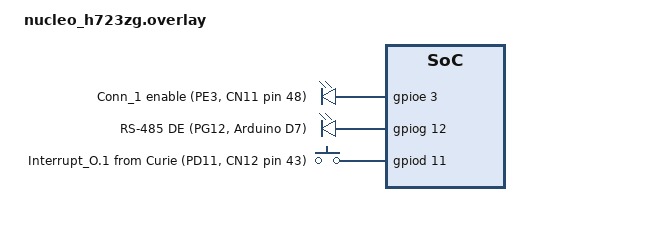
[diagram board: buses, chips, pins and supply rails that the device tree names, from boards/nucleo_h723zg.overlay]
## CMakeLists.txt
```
cmake_minimum_required(VERSION 3.20.0)
find_package(Zephyr REQUIRED HINTS $ENV{ZEPHYR_BASE})
project(rs485_switch_hello)
target_sources(app PRIVATE src/main.c)
```

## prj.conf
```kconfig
# GPIO for interrupt input (PE2) and Conn_1 output (PE3) and RS-485 DE (PG12).
# SERIAL for LPUART1 (RS-485 data) and USART3 (console, board default).
# No interrupt-driven UART needed - uart_poll_out() is sufficient for a
# one-shot "send and done" message at 115200.
CONFIG_GPIO=y
CONFIG_SERIAL=y
CONFIG_CONSOLE=y
CONFIG_UART_CONSOLE=y
CONFIG_PRINTK=y
CONFIG_STDOUT_CONSOLE=y
```

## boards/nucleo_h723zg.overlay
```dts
/*
 * SPDX-License-Identifier: Apache-2.0
 *
 * NUCLEO-H723ZG overlay for rs485_switch_hello.
 *
 * Pin assignments:
 *   PD11 Morpho CN12 pin 43  INPUT  + rising-edge IRQ    Interrupt_O.1 from Curie PJ12
 *   PE3  Morpho CN11 pin 48  OUTPUT                       Conn_1 enable → Curie PJ15
 *   PG12 Arduino D7          OUTPUT                       RS-485 DE (shield)
 *
 * RS-485 data:
 *   LPUART1 PB6=TX / PB7=RX  (Arduino D1/D0, already on board DTS).
 *
 * Console stays on USART3 (board default ST-Link VCP PD8/PD9).
 *
 * Wiring list:
 *   Curie J15 pin 17  (SensorBus.O1 / PJ12)  ──▶  NUCLEO PD11 (CN12 pin 43)
 *   NUCLEO PE3        (CN11 pin 48)          ──▶  Curie J15 pin 19 (SensorBus.C1 / PJ15)
 *   GND common
 *   RS-485 A/B from shield J1 ──▶ Waveshare port ttyACM0 (sniffer)
 */

/ {
	switch_ctrl {
		compatible = "gpio-leds";

		/* PE3 (CN11 pin 48): drives Conn_1 on the rs485_switch board HIGH to enable
		 * channel 1 (via Curie J15 pin 19 / SensorBus.C1 / PJ15). */
		conn1_out: conn1_out {
			gpios = <&gpioe 3 GPIO_ACTIVE_HIGH>;
			label = "Conn_1 enable (PE3, CN11 pin 48)";
		};

		/* PG12: RS-485 Driver Enable for the shield's transceiver. */
		rs485_de: rs485_de {
			gpios = <&gpiog 12 GPIO_ACTIVE_HIGH>;
			label = "RS-485 DE (PG12, Arduino D7)";
		};
	};

	trigger_input {
		compatible = "gpio-keys";

		/* PD11 (CN12 pin 43): receives Interrupt_O.1 pulse from Curie PJ12.
		 * Rising edge triggers the work item that sends the message. */
		interrupt_o1_in: interrupt_o1_in {
			gpios = <&gpiod 11 GPIO_ACTIVE_HIGH>;
			label = "Interrupt_O.1 from Curie (PD11, CN12 pin 43)";
			zephyr,code = <0>;
		};
	};

	aliases {
		conn1-out = &conn1_out;
		rs485-de  = &rs485_de;
		irq-in    = &interrupt_o1_in;
	};
};
```

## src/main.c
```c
/*
 * SPDX-License-Identifier: Apache-2.0
 *
 * rs485_switch_hello — NUCLEO-H723ZG side.
 */

#include <zephyr/kernel.h>
#include <zephyr/device.h>
#include <zephyr/devicetree.h>
#include <zephyr/drivers/gpio.h>
#include <zephyr/drivers/uart.h>
#include <zephyr/sys/printk.h>
#include <string.h>

#define LPUART1_NODE   DT_NODELABEL(lpuart1)
#define CONN1_OUT_NODE DT_ALIAS(conn1_out)
#define RS485_DE_NODE  DT_ALIAS(rs485_de)
#define IRQ_IN_NODE    DT_ALIAS(irq_in)

static const struct device *const uart_dev = DEVICE_DT_GET(LPUART1_NODE);

static const struct gpio_dt_spec conn1_out =
	GPIO_DT_SPEC_GET(CONN1_OUT_NODE, gpios);
static const struct gpio_dt_spec rs485_de =
	GPIO_DT_SPEC_GET(RS485_DE_NODE, gpios);
static const struct gpio_dt_spec irq_in =
	GPIO_DT_SPEC_GET(IRQ_IN_NODE, gpios);

static const char rs485_msg[] = "Hello testing spring from nucleo\r\n";

#define DE_SETTLE_US   10
#define DE_TAIL_US    200
#define CONN1_HOLD_MS 200
#define SWITCH_SETTLE_MS 1

static struct k_work trigger_work;
static volatile uint32_t irq_count = 0;

static void rs485_send(const char *msg, size_t len)
{
	gpio_pin_set_dt(&rs485_de, 1);
	k_busy_wait(DE_SETTLE_US);

	for (size_t i = 0; i < len; i++) {
		uart_poll_out(uart_dev, msg[i]);
	}

	k_busy_wait(DE_TAIL_US);
	gpio_pin_set_dt(&rs485_de, 0);
}

static void do_trigger(struct k_work *work)
{
	ARG_UNUSED(work);

	uint32_t count = irq_count;
	int val = gpio_pin_get_dt(&irq_in);
	printk("\n▶ [IRQ #%u] Trigger event on PD11 (current pin level = %d)\n", count, val);

	/* 1. Drive Conn_1 (PE3) HIGH */
	gpio_pin_set_dt(&conn1_out, 1);
	printk("  Conn_1 (PE3) → HIGH [RS-485 channel 1 enabled]\n");

	k_msleep(SWITCH_SETTLE_MS);

	/* 2. Send RS-485 message */
	printk("  Sending RS-485: \"%s\"", rs485_msg);
	rs485_send(rs485_msg, sizeof(rs485_msg) - 1);
	printk("  RS-485 transmission complete.\n");

	/* 3. Hold Conn_1 HIGH then release */
	k_msleep(CONN1_HOLD_MS);
	gpio_pin_set_dt(&conn1_out, 0);
	printk("  Conn_1 (PE3) → LOW [cycle complete]\n\n");
}

static struct gpio_callback irq_cb_data;

static void trigger_irq_handler(const struct device *dev,
				 struct gpio_callback *cb,
				 uint32_t pins)
{
	ARG_UNUSED(dev);
	ARG_UNUSED(cb);
	ARG_UNUSED(pins);

	irq_count++;
	k_work_submit(&trigger_work);
}

int main(void)
{
	int rc;

	printk("\n==================================================\n");
	printk("=== rs485_switch_hello (NUCLEO-H723ZG) ===\n");
	printk("==================================================\n");
	printk("Waiting for interrupt edge on PD11 (from Curie PJ12).\n");
	printk("On trigger: PE3 HIGH (Conn_1) → RS-485 msg → PE3 LOW.\n");
	printk("Sniffer: waveshare_rs485 on /dev/ttyACM0 at 115200.\n\n");

	if (!device_is_ready(uart_dev)) {
		printk("ERROR: LPUART1 not ready\n");
		return 0;
	}

	if (!gpio_is_ready_dt(&conn1_out)) {
		printk("ERROR: conn1_out (PE3) not ready\n");
		return 0;
	}
	rc = gpio_pin_configure_dt(&conn1_out, GPIO_OUTPUT_INACTIVE);
	if (rc < 0) {
		printk("ERROR: conn1_out configure: %d\n", rc);
		return 0;
	}

	if (!gpio_is_ready_dt(&rs485_de)) {
		printk("ERROR: rs485_de (PG12) not ready\n");
		return 0;
	}
	rc = gpio_pin_configure_dt(&rs485_de, GPIO_OUTPUT_INACTIVE);
	if (rc < 0) {
		printk("ERROR: rs485_de configure: %d\n", rc);
		return 0;
	}

	/*
	 * Configure PD11 with PULL_UP (for open-collector Curie output)
	 * and trigger on BOTH edges so both rising and falling edges wake it.
	 */
	if (!gpio_is_ready_dt(&irq_in)) {
		printk("ERROR: irq_in (PD11) not ready\n");
		return 0;
	}
	rc = gpio_pin_configure_dt(&irq_in, GPIO_INPUT | GPIO_PULL_UP);
	if (rc < 0) {
		printk("ERROR: irq_in configure: %d\n", rc);
		return 0;
	}
	rc = gpio_pin_interrupt_configure_dt(&irq_in, GPIO_INT_EDGE_BOTH);
	if (rc < 0) {
		printk("ERROR: irq_in interrupt configure: %d\n", rc);
		return 0;
	}

	k_work_init(&trigger_work, do_trigger);

	gpio_init_callback(&irq_cb_data, trigger_irq_handler, BIT(irq_in.pin));
	rc = gpio_add_callback(irq_in.port, &irq_cb_data);
	if (rc < 0) {
		printk("ERROR: gpio_add_callback: %d\n", rc);
		return 0;
	}

	int initial_val = gpio_pin_get_dt(&irq_in);
	printk("All GPIOs configured. IRQ armed on PD11 (EDGE_BOTH, PULL_UP).\n");
	printk("Initial PD11 level = %d\n", initial_val);
	printk("Listening...\n\n");

	while (1) {
		k_sleep(K_SECONDS(5));
		int cur_val = gpio_pin_get_dt(&irq_in);
		printk("[Status] PD11 = %d, total triggers handled = %u\n", cur_val, irq_count);
	}

	return 0;
}
```
